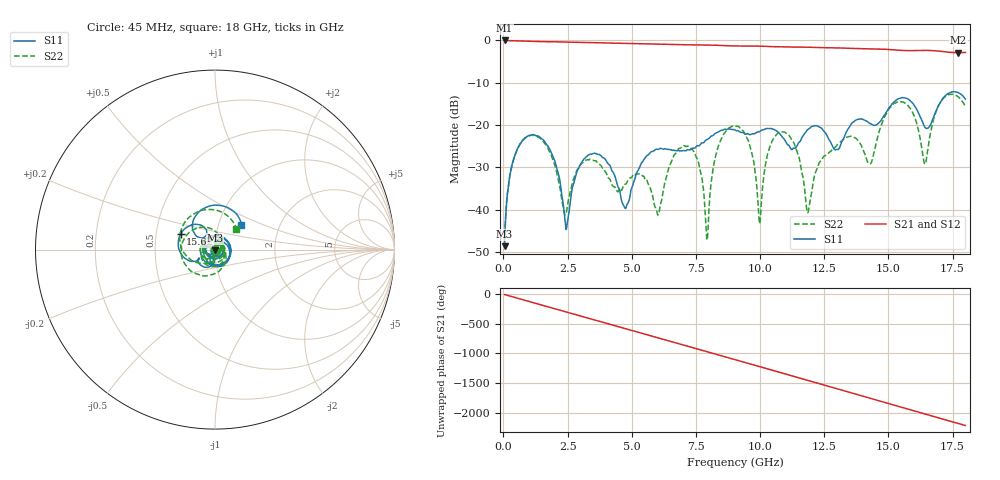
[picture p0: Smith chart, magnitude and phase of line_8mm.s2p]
!Agilent Technologies,E8364A,US41440284,A.06.04.32
!Agilent E8364A: A.06.04.32
!Date: Friday, December 06, 2019 10:44:08
!Correction: S11(Full 2 Port(1,2)) S21(Full 2 Port(1,2)) S12(Full 2 Port(1,2)) S22(Full 2 Port(1,2))
!S2P File: Measurements: S11, S21, S12, S22:
# Hz S  MA  R 50
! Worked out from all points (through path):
!   801 points, 45 MHz to 18 GHz, reference 50 ohm
!   highest |S21| = -0.01 dB at 45 MHz (marker M1); lowest = -2.9 dB at 17.73 GHz (marker M2)
!   group delay of S21, straight-line fit = 342 ps
!   lowest |S11| = -48.6 dB at 45 MHz (marker M3), VSWR 1.01, Z = 50 - j0.372 ohm
!   |S11| at or under -10 dB: start of sweep to end of sweep
!   |S22| runs from -47.1 to -12.7 dB; largest |S21 - S12| = 0.0022
!   S11 on the Smith chart (normalised r, x): 45 MHz: 1.00, -0.01; 15.62 GHz: 0.67, +0.12; 18 GHz: 1.29, +0.37
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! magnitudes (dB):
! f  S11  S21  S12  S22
! 45 MHz  -48.6  0.0  0.0  -46.0
! 314.3 MHz  -29.9  -0.1  -0.1  -30.1
! 830.5 MHz  -23.2  -0.2  -0.2  -23.1
! 1.818 GHz  -25.9  -0.3  -0.3  -26.5
! 2.446 GHz  -44.7  -0.4  -0.4  -40.8
! 3.052 GHz  -28.7  -0.5  -0.5  -29.1
! 4.758 GHz  -39.7  -0.7  -0.7  -33.9
! 6.037 GHz  -25.7  -0.9  -0.9  -41.1
! 7.115 GHz  -26.0  -1.0  -1.0  -25.1
! 7.945 GHz  -23.4  -1.1  -1.1  -47.1
! 8.327 GHz  -21.7  -1.2  -1.2  -25.9
! 9.023 GHz  -21.1  -1.3  -1.3  -20.2
! 9.988 GHz  -21.5  -1.4  -1.4  -43.3
! 10.77 GHz  -22.1  -1.5  -1.5  -21.6
! 12.03 GHz  -20.3  -1.6  -1.6  -35.0
! 13.38 GHz  -21.4  -1.8  -1.8  -22.9
! 14.3 GHz  -19.7  -2.0  -2.0  -29.2
! 15.01 GHz  -16.0  -2.1  -2.1  -16.2
! 15.62 GHz  -13.6  -2.4  -2.4  -14.7
! 16.43 GHz  -20.5  -2.4  -2.4  -29.3
! 17.73 GHz  -12.4  -2.9  -2.9  -13.4
! 18 GHz  -13.9  -2.8  -2.8  -15.7
